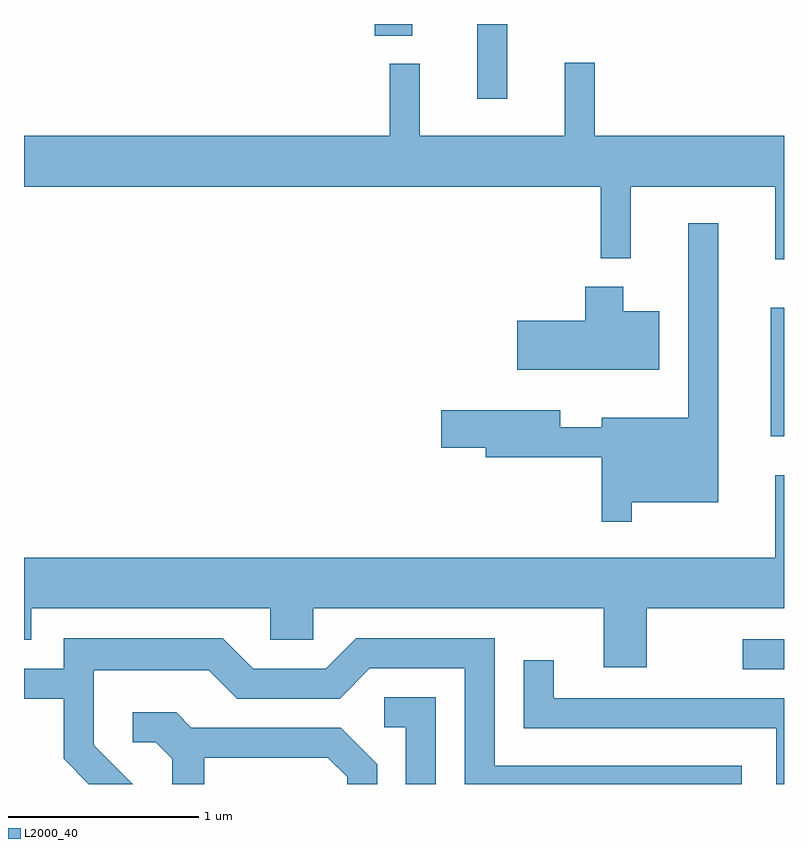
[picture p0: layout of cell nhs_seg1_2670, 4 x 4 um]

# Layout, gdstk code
import gdstk
lib = gdstk.Library(unit=1e-6, precision=1e-09)
def R(c, l, rs):  # rectangles x0, y0, x1, y1
    for r in rs: c.add(gdstk.rectangle(r[:2], r[2:], *l))
def P(c, l, *ps):  # polygons
    for p in ps: c.add(gdstk.Polygon(p, *l))
L2000_40 = (2000, 40)

nhs_seg1_2670 = lib.new_cell('nhs_seg1_2670')
R(nhs_seg1_2670, L2000_40, [(269.393,950.316,269.611,950.474), (269.541,951.541,269.611,952.219), (267.996,953.318,268.154,953.712), (267.456,953.651,267.654,953.712)])
P(nhs_seg1_2670, L2000_40, [(269.611,953.124),(268.614,953.124),(268.614,953.508),(268.456,953.508),(268.456,953.124),(267.694,953.124),(267.694,953.503),(267.536,953.503),(267.536,953.124),(265.611,953.124),(265.611,952.856),(268.646,952.856),(268.646,952.478),(268.804,952.478),(268.804,952.856),(269.566,952.856),(269.566,952.473),(269.611,952.473)],
  [(268.809,951.196),(269.264,951.196),(269.264,952.663),(269.106,952.663),(269.106,951.639),(268.651,951.639),(268.651,951.589),(268.434,951.589),(268.434,951.679),(267.806,951.679),(267.806,951.481),(268.041,951.481),(268.041,951.431),(268.651,951.431),(268.651,951.093),(268.809,951.093)],
  [(268.954,952.199),(268.764,952.199),(268.764,952.329),(268.566,952.329),(268.566,952.149),(268.206,952.149),(268.206,951.891),(268.954,951.891)],
  [(268.889,950.636),(269.611,950.636),(269.611,951.338),(269.566,951.338),(269.566,950.904),(265.611,950.904),(265.611,950.471),(265.649,950.471),(265.649,950.636),(266.906,950.636),(266.906,950.471),(267.134,950.471),(267.134,950.636),(268.661,950.636),(268.661,950.326),(268.889,950.326)],
  [(265.979,949.917),(265.979,950.311),(266.584,950.311),(266.734,950.161),(267.272,950.161),(267.432,950.321),(267.931,950.321),(267.931,949.712),(269.389,949.712),(269.389,949.809),(268.089,949.809),(268.089,950.479),(267.359,950.479),(267.199,950.319),(266.817,950.319),(266.657,950.479),(265.821,950.479),(265.821,950.319),(265.611,950.319),(265.611,950.161),(265.821,950.161),(265.821,949.844),(265.953,949.712),(266.184,949.712)],
  [(269.611,950.164),(268.399,950.164),(268.399,950.363),(268.241,950.363),(268.241,950.006),(269.571,950.006),(269.571,949.712),(269.611,949.712)],
  [(267.779,950.169),(267.508,950.169),(267.508,950.011),(267.621,950.011),(267.621,949.712),(267.779,949.712)],
  [(266.559,949.851),(267.209,949.851),(267.311,949.749),(267.311,949.712),(267.469,949.712),(267.469,949.817),(267.277,950.009),(266.492,950.009),(266.412,950.089),(266.183,950.089),(266.183,949.931),(266.304,949.931),(266.391,949.844),(266.391,949.712),(266.559,949.712)])

lib.write_gds('nhs_seg1_2670.gds')
